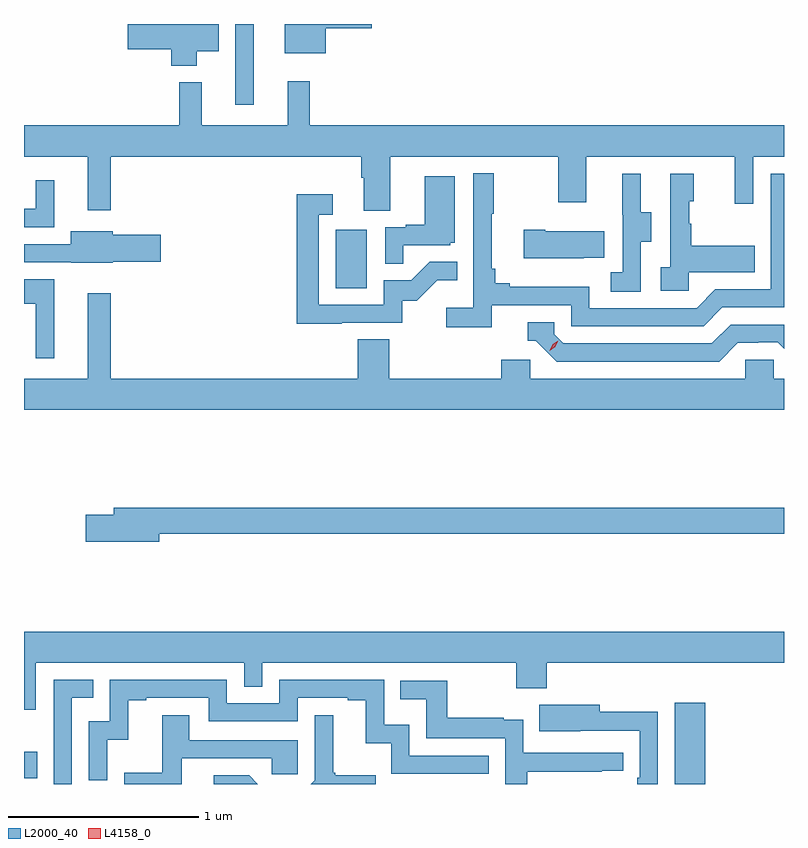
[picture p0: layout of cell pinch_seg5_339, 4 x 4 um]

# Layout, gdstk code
import gdstk
lib = gdstk.Library(unit=1e-6, precision=1e-09)
def R(c, l, rs):  # rectangles x0, y0, x1, y1
    for r in rs: c.add(gdstk.rectangle(r[:2], r[2:], *l))
def P(c, l, *ps):  # polygons
    for p in ps: c.add(gdstk.Polygon(p, *l))
L2000_40 = (2000, 40)
L4158_0 = (4158, 0)

pinch_seg5_339 = lib.new_cell('pinch_seg5_339')
R(pinch_seg5_339, L2000_40, [(1014.257,890.754,1014.418,891.181), (1010.832,890.783,1010.903,890.923), (1012.472,893.364,1012.636,893.671), (1011.945,894.33,1012.042,894.754)])
P(pinch_seg5_339, L2000_40, [(1012.42,894.731),(1012.663,894.731),(1012.663,894.754),(1012.205,894.754),(1012.205,894.599),(1012.42,894.599)],
  [(1011.742,894.611),(1011.856,894.611),(1011.856,894.754),(1011.378,894.754),(1011.378,894.622),(1011.608,894.622),(1011.608,894.533),(1011.742,894.533)],
  [(1012.759,894.056),(1013.644,894.056),(1013.644,893.817),(1013.791,893.817),(1013.791,894.056),(1014.572,894.056),(1014.572,893.808),(1014.669,893.808),(1014.669,894.056),(1014.832,894.056),(1014.832,894.22),(1012.337,894.22),(1012.337,894.454),(1012.22,894.454),(1012.22,894.22),(1011.767,894.22),(1011.767,894.448),(1011.649,894.448),(1011.649,894.22),(1010.832,894.22),(1010.832,894.056),(1011.167,894.056),(1011.167,893.775),(1011.289,893.775),(1011.289,894.056),(1012.607,894.056),(1012.607,893.944),(1012.619,893.944),(1012.619,893.77),(1012.759,893.77)],
  [(1013.294,893.274),(1013.712,893.274),(1013.712,893.163),(1014.409,893.163),(1014.508,893.262),(1014.832,893.262),(1014.832,893.967),(1014.762,893.967),(1014.762,893.358),(1014.471,893.358),(1014.372,893.259),(1013.808,893.259),(1013.808,893.371),(1013.389,893.371),(1013.389,893.39),(1013.312,893.39),(1013.312,893.467),(1013.293,893.467),(1013.293,893.755),(1013.305,893.755),(1013.305,893.968),(1013.196,893.968),(1013.196,893.26),(1013.055,893.26),(1013.055,893.158),(1013.294,893.158)],
  [(1014.078,893.608),(1014.133,893.608),(1014.133,893.763),(1014.079,893.763),(1014.079,893.965),(1013.981,893.965),(1013.981,893.751),(1013.982,893.751),(1013.982,893.447),(1013.919,893.447),(1013.919,893.344),(1014.078,893.344)],
  [(1014.33,893.447),(1014.677,893.447),(1014.677,893.587),(1014.343,893.587),(1014.343,893.702),(1014.333,893.702),(1014.333,893.82),(1014.358,893.82),(1014.358,893.965),(1014.234,893.965),(1014.234,893.474),(1014.183,893.474),(1014.183,893.349),(1014.33,893.349)],
  [(1012.829,893.589),(1013.076,893.589),(1013.076,893.604),(1013.098,893.604),(1013.098,893.953),(1012.94,893.953),(1012.94,893.698),(1012.841,893.698),(1012.841,893.685),(1012.734,893.685),(1012.734,893.491),(1012.829,893.491)],
  [(1010.992,893.932),(1010.894,893.932),(1010.894,893.781),(1010.832,893.781),(1010.832,893.685),(1010.992,893.685)],
  [(1012.505,893.181),(1012.824,893.181),(1012.824,893.298),(1012.9,893.298),(1013.007,893.405),(1013.111,893.405),(1013.111,893.504),(1012.967,893.504),(1012.869,893.406),(1012.725,893.406),(1012.725,893.277),(1012.383,893.277),(1012.383,893.751),(1012.456,893.751),(1012.456,893.857),(1012.267,893.857),(1012.267,893.176),(1012.505,893.176)],
  [(1013.777,893.525),(1013.885,893.525),(1013.885,893.662),(1013.575,893.662),(1013.575,893.67),(1013.463,893.67),(1013.463,893.522),(1013.777,893.522)],
  [(1011.3,893.504),(1011.553,893.504),(1011.553,893.646),(1011.3,893.646),(1011.3,893.662),(1011.077,893.662),(1011.077,893.595),(1010.832,893.595),(1010.832,893.499),(1011.081,893.499),(1011.081,893.498),(1011.3,893.498)],
  [(1010.992,893.41),(1010.832,893.41),(1010.832,893.282),(1010.894,893.282),(1010.894,892.995),(1010.992,892.995)],
  [(1014.832,892.888),(1014.777,892.888),(1014.777,892.986),(1014.627,892.986),(1014.627,892.888),(1013.496,892.888),(1013.496,892.986),(1013.345,892.986),(1013.345,892.888),(1012.754,892.888),(1012.754,893.096),(1012.589,893.096),(1012.589,892.888),(1011.289,892.888),(1011.289,893.338),(1011.167,893.338),(1011.167,892.888),(1010.832,892.888),(1010.832,892.724),(1014.832,892.724)],
  [(1014.589,893.076),(1014.696,893.076),(1014.696,893.079),(1014.799,893.079),(1014.832,893.046),(1014.832,893.172),(1014.552,893.172),(1014.453,893.073),(1013.67,893.073),(1013.622,893.121),(1013.622,893.184),(1013.483,893.184),(1013.483,893.088),(1013.526,893.088),(1013.637,892.977),(1014.49,892.977)],
  [(1011.544,892.072),(1014.832,892.072),(1014.832,892.208),(1011.305,892.208),(1011.305,892.172),(1011.156,892.172),(1011.156,892.03),(1011.544,892.03)],
  [(1010.895,891.392),(1011.99,891.392),(1011.99,891.265),(1012.086,891.265),(1012.086,891.392),(1013.422,891.392),(1013.422,891.257),(1013.582,891.257),(1013.582,891.392),(1014.832,891.392),(1014.832,891.556),(1010.832,891.556),(1010.832,891.144),(1010.895,891.144)],
  [(1011.27,890.987),(1011.38,890.987),(1011.38,891.195),(1011.475,891.195),(1011.475,891.207),(1011.804,891.207),(1011.804,891.084),(1012.272,891.084),(1012.272,891.207),(1012.535,891.207),(1012.535,891.195),(1012.631,891.195),(1012.631,890.969),(1012.764,890.969),(1012.764,890.808),(1013.279,890.808),(1013.279,890.904),(1012.86,890.904),(1012.86,891.067),(1012.728,891.067),(1012.728,891.303),(1012.176,891.303),(1012.176,891.18),(1011.9,891.18),(1011.9,891.303),(1011.282,891.303),(1011.282,891.084),(1011.174,891.084),(1011.174,890.775),(1011.27,890.775)],
  [(1011.084,891.207),(1011.197,891.207),(1011.197,891.303),(1010.988,891.303),(1010.988,890.754),(1011.084,890.754)],
  [(1013.48,890.818),(1013.873,890.818),(1013.873,890.823),(1013.986,890.823),(1013.986,890.919),(1013.46,890.919),(1013.46,891.091),(1013.357,891.091),(1013.357,891.103),(1013.059,891.103),(1013.059,891.297),(1012.813,891.297),(1012.813,891.2),(1012.948,891.2),(1012.948,890.994),(1013.364,890.994),(1013.364,890.754),(1013.48,890.754)],
  [(1014.168,891.134),(1013.863,891.134),(1013.863,891.172),(1013.545,891.172),(1013.545,891.032),(1013.759,891.032),(1013.759,891.033),(1014.072,891.033),(1014.072,890.788),(1014.059,890.788),(1014.059,890.754),(1014.168,890.754)],
  [(1012.684,890.8),(1012.471,890.8),(1012.471,890.812),(1012.459,890.812),(1012.459,891.115),(1012.362,891.115),(1012.362,890.775),(1012.341,890.754),(1012.684,890.754)],
  [(1011.661,890.889),(1012.135,890.889),(1012.135,890.805),(1012.272,890.805),(1012.272,890.985),(1011.703,890.985),(1011.703,891.115),(1011.559,891.115),(1011.559,890.812),(1011.36,890.812),(1011.36,890.754),(1011.661,890.754)],
  [(1012.018,890.799),(1011.831,890.799),(1011.831,890.754),(1012.063,890.754)])
P(pinch_seg5_339, L4158_0, [(1013.598,893.035),(1013.598,893.036),(1013.614,893.068),(1013.645,893.088),(1013.645,893.088),(1013.645,893.088),(1013.629,893.055),(1013.598,893.035)])

lib.write_gds('pinch_seg5_339.gds')
